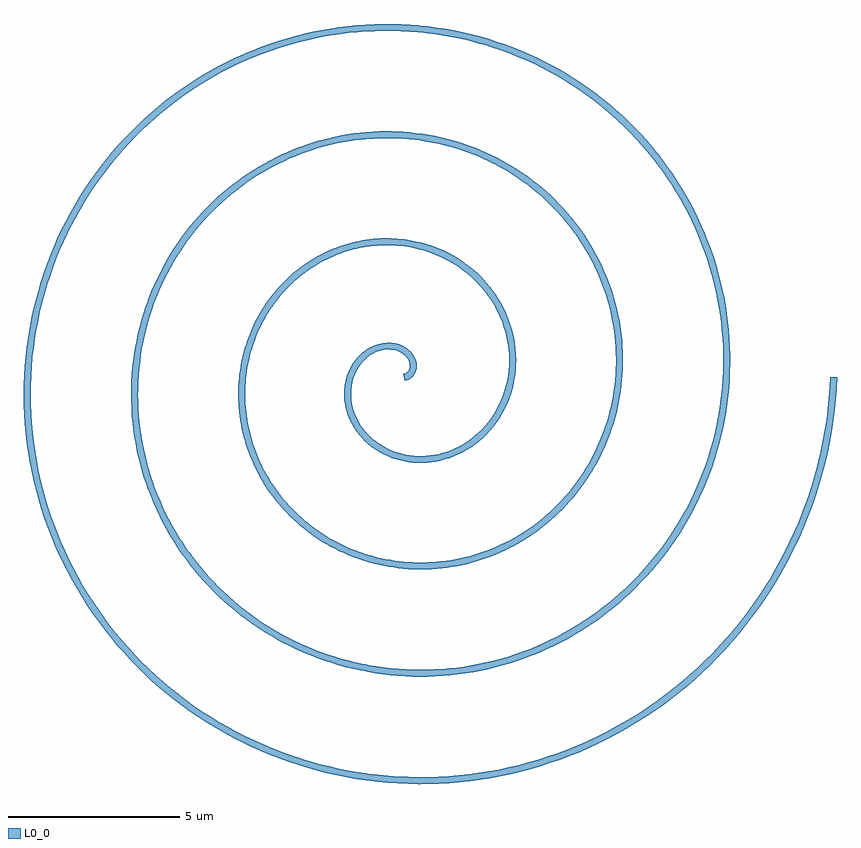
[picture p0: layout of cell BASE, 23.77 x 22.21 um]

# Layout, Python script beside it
import gdstk
import numpy as np

lib = gdstk.Library()

cell = lib.new_cell("BASE")

# Make path (spiral)
theta = np.linspace(0, 2*3.14159*4, 1000)
R = theta*0.5

X = R*np.cos(theta)
Y = R*np.sin(theta)

# change path format
# path_list = []
# for th, r in zip(theta, R):
# 	path_list.append((th, r))
	
path_list = [(x_, y_) for x_, y_ in zip(X, Y)]

path = gdstk.FlexPath(path_list, 0.2, tolerance=1e-2)

cell.add(path)

lib.write_gds("path_test.gds")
